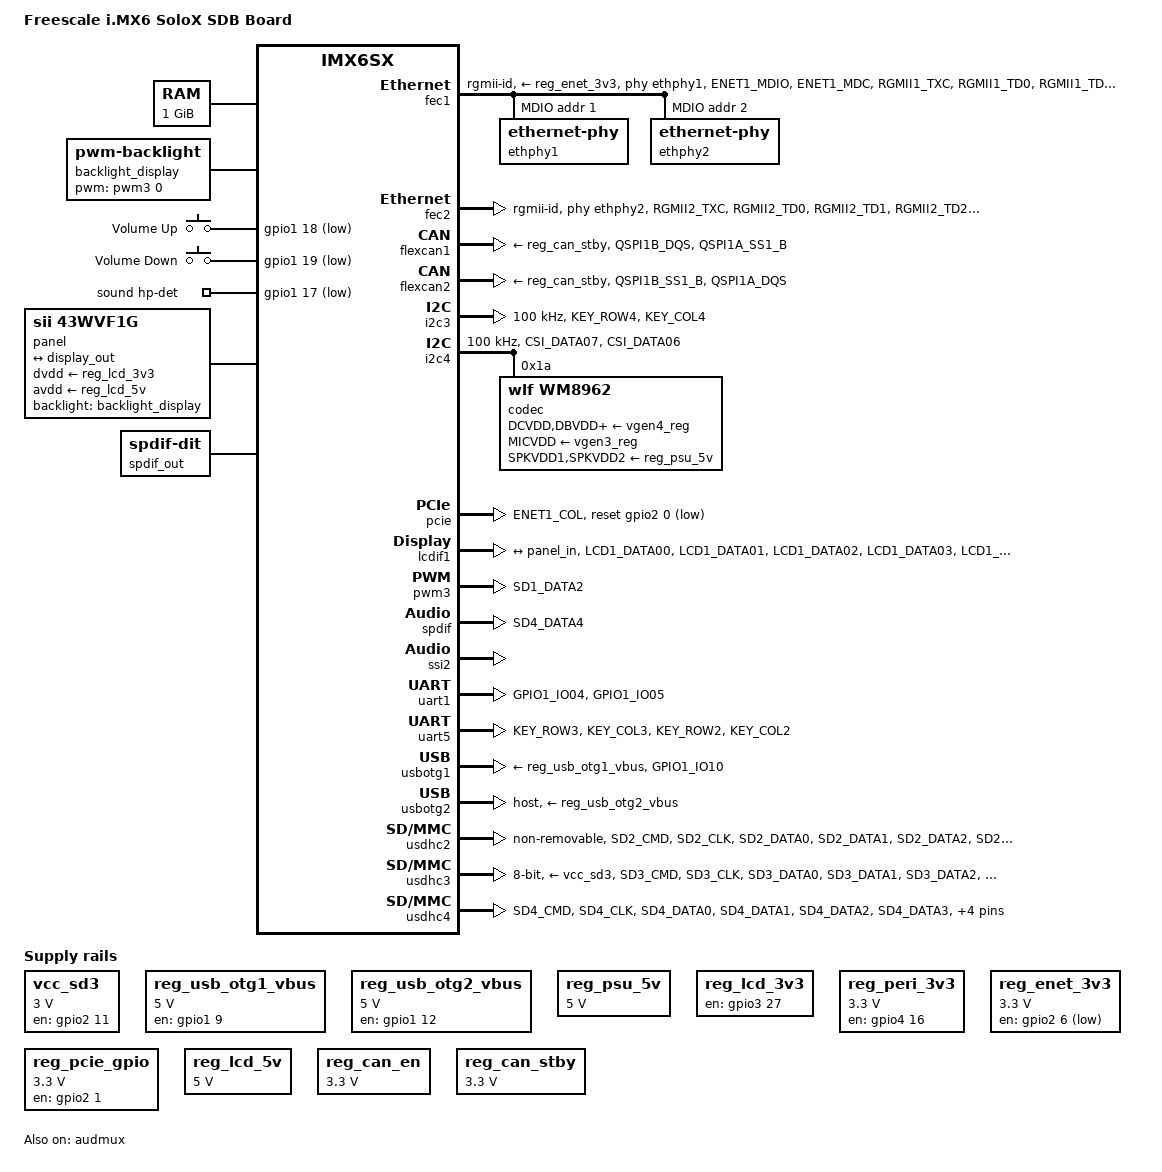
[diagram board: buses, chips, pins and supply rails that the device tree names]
// SPDX-License-Identifier: GPL-2.0
//
// Copyright (C) 2014 Freescale Semiconductor, Inc.

/dts-v1/;

#include <dt-bindings/gpio/gpio.h>
#include <dt-bindings/input/input.h>
#include "imx6sx.dtsi"

/ {
	model = "Freescale i.MX6 SoloX SDB Board";
	compatible = "fsl,imx6sx-sdb", "fsl,imx6sx";

	chosen {
		stdout-path = &uart1;
	};

	memory@80000000 {
		device_type = "memory";
		reg = <0x80000000 0x40000000>;
	};

	backlight_display: backlight-display {
		compatible = "pwm-backlight";
		pwms = <&pwm3 0 5000000 0>;
		brightness-levels = <0 4 8 16 32 64 128 255>;
		default-brightness-level = <6>;
	};

	gpio-keys {
		compatible = "gpio-keys";
		pinctrl-names = "default";
		pinctrl-0 = <&pinctrl_gpio_keys>;

		volume-up {
			label = "Volume Up";
			gpios = <&gpio1 18 GPIO_ACTIVE_LOW>;
			linux,code = <KEY_VOLUMEUP>;
			wakeup-source;
		};

		volume-down {
			label = "Volume Down";
			gpios = <&gpio1 19 GPIO_ACTIVE_LOW>;
			linux,code = <KEY_VOLUMEDOWN>;
			wakeup-source;
		};
	};

	vcc_sd3: regulator-vcc-sd3 {
		compatible = "regulator-fixed";
		pinctrl-names = "default";
		pinctrl-0 = <&pinctrl_vcc_sd3>;
		regulator-name = "VCC_SD3";
		regulator-min-microvolt = <3000000>;
		regulator-max-microvolt = <3000000>;
		gpio = <&gpio2 11 GPIO_ACTIVE_HIGH>;
		enable-active-high;
	};

	reg_usb_otg1_vbus: regulator-usb-otg1-vbus {
		compatible = "regulator-fixed";
		pinctrl-names = "default";
		pinctrl-0 = <&pinctrl_usb_otg1>;
		regulator-name = "usb_otg1_vbus";
		regulator-min-microvolt = <5000000>;
		regulator-max-microvolt = <5000000>;
		gpio = <&gpio1 9 GPIO_ACTIVE_HIGH>;
		enable-active-high;
	};

	reg_usb_otg2_vbus: regulator-usb-otg2-vbus {
		compatible = "regulator-fixed";
		pinctrl-names = "default";
		pinctrl-0 = <&pinctrl_usb_otg2>;
		regulator-name = "usb_otg2_vbus";
		regulator-min-microvolt = <5000000>;
		regulator-max-microvolt = <5000000>;
		gpio = <&gpio1 12 GPIO_ACTIVE_HIGH>;
		enable-active-high;
	};

	reg_psu_5v: regulator-psu-5v {
		compatible = "regulator-fixed";
		regulator-name = "PSU-5V0";
		regulator-min-microvolt = <5000000>;
		regulator-max-microvolt = <5000000>;
	};

	reg_lcd_3v3: regulator-lcd-3v3 {
		compatible = "regulator-fixed";
		regulator-name = "lcd-3v3";
		gpio = <&gpio3 27 0>;
		enable-active-high;
	};

	reg_peri_3v3: regulator-peri-3v3 {
		compatible = "regulator-fixed";
		pinctrl-names = "default";
		pinctrl-0 = <&pinctrl_peri_3v3>;
		regulator-name = "peri_3v3";
		regulator-min-microvolt = <3300000>;
		regulator-max-microvolt = <3300000>;
		gpio = <&gpio4 16 GPIO_ACTIVE_HIGH>;
		enable-active-high;
		regulator-always-on;
	};

	reg_enet_3v3: regulator-enet-3v3 {
		compatible = "regulator-fixed";
		pinctrl-names = "default";
		pinctrl-0 = <&pinctrl_enet_3v3>;
		regulator-name = "enet_3v3";
		regulator-min-microvolt = <3300000>;
		regulator-max-microvolt = <3300000>;
		gpio = <&gpio2 6 GPIO_ACTIVE_LOW>;
		regulator-boot-on;
		regulator-always-on;
	};

	reg_pcie_gpio: regulator-pcie-gpio {
		compatible = "regulator-fixed";
		pinctrl-names = "default";
		pinctrl-0 = <&pinctrl_pcie_reg>;
		regulator-name = "MPCIE_3V3";
		regulator-min-microvolt = <3300000>;
		regulator-max-microvolt = <3300000>;
		gpio = <&gpio2 1 GPIO_ACTIVE_HIGH>;
		enable-active-high;
	};

	reg_lcd_5v: regulator-lcd-5v {
		compatible = "regulator-fixed";
		regulator-name = "lcd-5v0";
		regulator-min-microvolt = <5000000>;
		regulator-max-microvolt = <5000000>;
	};

	reg_can_en: regulator-can-en {
		compatible = "regulator-fixed";
		regulator-name = "can-en";
		regulator-min-microvolt = <3300000>;
		regulator-max-microvolt = <3300000>;
	};

	reg_can_stby: regulator-can-stby {
		compatible = "regulator-fixed";
		regulator-name = "can-stby";
		regulator-min-microvolt = <3300000>;
		regulator-max-microvolt = <3300000>;
	};

	sound {
		compatible = "fsl,imx6sx-sdb-wm8962", "fsl,imx-audio-wm8962";
		pinctrl-names = "default";
		pinctrl-0 = <&pinctrl_hp>;
		model = "wm8962-audio";
		ssi-controller = <&ssi2>;
		audio-codec = <&codec>;
		audio-routing =
			"Headphone Jack", "HPOUTL",
			"Headphone Jack", "HPOUTR",
			"Ext Spk", "SPKOUTL",
			"Ext Spk", "SPKOUTR",
			"AMIC", "MICBIAS",
			"IN3R", "AMIC";
		mux-int-port = <2>;
		mux-ext-port = <6>;
		hp-det-gpio = <&gpio1 17 GPIO_ACTIVE_LOW>;
	};

	panel {
		compatible = "sii,43wvf1g";
		backlight = <&backlight_display>;
		dvdd-supply = <&reg_lcd_3v3>;
		avdd-supply = <&reg_lcd_5v>;

		port {
			panel_in: endpoint {
				remote-endpoint = <&display_out>;
			};
		};
	};

	spdif_out: spdif-out {
		compatible = "linux,spdif-dit";
		#sound-dai-cells = <0>;
	};

	sound-spdif {
		compatible = "fsl,imx6sx-sdb-spdif",
			     "fsl,imx-audio-spdif";
		model = "imx-spdif";
		audio-cpu = <&spdif>;
		audio-codec = <&spdif_out>;
	};

};

&audmux {
	pinctrl-names = "default";
	pinctrl-0 = <&pinctrl_audmux>;
	status = "okay";
};

&fec1 {
	pinctrl-names = "default";
	pinctrl-0 = <&pinctrl_enet1>;
	phy-supply = <&reg_enet_3v3>;
	phy-mode = "rgmii-id";
	phy-handle = <&ethphy1>;
	phy-reset-gpios = <&gpio2 7 GPIO_ACTIVE_LOW>;
	fsl,magic-packet;
	status = "okay";

	mdio {
		#address-cells = <1>;
		#size-cells = <0>;

		ethphy1: ethernet-phy@1 {
			reg = <1>;
		};

		ethphy2: ethernet-phy@2 {
			reg = <2>;
		};
	};
};

&fec2 {
	pinctrl-names = "default";
	pinctrl-0 = <&pinctrl_enet2>;
	phy-mode = "rgmii-id";
	phy-handle = <&ethphy2>;
	fsl,magic-packet;
	status = "okay";
};

&flexcan1 {
	pinctrl-names = "default";
	pinctrl-0 = <&pinctrl_flexcan1>;
	xceiver-supply = <&reg_can_stby>;
	status = "okay";
};

&flexcan2 {
	pinctrl-names = "default";
	pinctrl-0 = <&pinctrl_flexcan2>;
	xceiver-supply = <&reg_can_stby>;
	status = "okay";
};

&i2c3 {
	clock-frequency = <100000>;
	pinctrl-names = "default";
	pinctrl-0 = <&pinctrl_i2c3>;
	status = "okay";
};

&i2c4 {
	clock-frequency = <100000>;
	pinctrl-names = "default";
	pinctrl-0 = <&pinctrl_i2c4>;
	status = "okay";

	codec: wm8962@1a {
		compatible = "wlf,wm8962";
		reg = <0x1a>;
		clocks = <&clks IMX6SX_CLK_AUDIO>;
		DCVDD-supply = <&vgen4_reg>;
		DBVDD-supply = <&vgen4_reg>;
		AVDD-supply = <&vgen4_reg>;
		CPVDD-supply = <&vgen4_reg>;
		MICVDD-supply = <&vgen3_reg>;
		PLLVDD-supply = <&vgen4_reg>;
		SPKVDD1-supply = <&reg_psu_5v>;
		SPKVDD2-supply = <&reg_psu_5v>;
	};
};

&pcie {
	pinctrl-names = "default";
	pinctrl-0 = <&pinctrl_pcie>;
	reset-gpio = <&gpio2 0 GPIO_ACTIVE_LOW>;
	vpcie-supply = <&reg_pcie_gpio>;
	status = "okay";
};

&lcdif1 {
	pinctrl-names = "default";
	pinctrl-0 = <&pinctrl_lcd>;
	status = "okay";

	port {
		display_out: endpoint {
			remote-endpoint = <&panel_in>;
		};
	};
};

&pwm3 {
	pinctrl-names = "default";
	pinctrl-0 = <&pinctrl_pwm3>;
};

&snvs_poweroff {
	status = "okay";
};

&sai1 {
	pinctrl-names = "default";
	pinctrl-0 = <&pinctrl_sai1>;
	status = "disabled";
};

&spdif {
	pinctrl-names = "default";
	pinctrl-0 = <&pinctrl_spdif>;
	assigned-clocks = <&clks IMX6SX_CLK_SPDIF_PODF>;
	assigned-clock-rates = <24576000>;
	status = "okay";
};

&ssi2 {
	status = "okay";
};

&uart1 {
	pinctrl-names = "default";
	pinctrl-0 = <&pinctrl_uart1>;
	status = "okay";
};

&uart5 { /* for bluetooth */
	pinctrl-names = "default";
	pinctrl-0 = <&pinctrl_uart5>;
	uart-has-rtscts;
	status = "okay";
};

&usbotg1 {
	vbus-supply = <&reg_usb_otg1_vbus>;
	pinctrl-names = "default";
	pinctrl-0 = <&pinctrl_usb_otg1_id>;
	status = "okay";
};

&usbotg2 {
	vbus-supply = <&reg_usb_otg2_vbus>;
	dr_mode = "host";
	status = "okay";
};

&usbphy1 {
	fsl,tx-d-cal = <106>;
};

&usbphy2 {
	fsl,tx-d-cal = <106>;
};

&usdhc2 {
	pinctrl-names = "default";
	pinctrl-0 = <&pinctrl_usdhc2>;
	non-removable;
	no-1-8-v;
	keep-power-in-suspend;
	wakeup-source;
	status = "okay";
};

&usdhc3 {
	pinctrl-names = "default", "state_100mhz", "state_200mhz";
	pinctrl-0 = <&pinctrl_usdhc3>;
	pinctrl-1 = <&pinctrl_usdhc3_100mhz>;
	pinctrl-2 = <&pinctrl_usdhc3_200mhz>;
	bus-width = <8>;
	cd-gpios = <&gpio2 10 GPIO_ACTIVE_LOW>;
	wp-gpios = <&gpio2 15 GPIO_ACTIVE_HIGH>;
	keep-power-in-suspend;
	wakeup-source;
	vmmc-supply = <&vcc_sd3>;
	status = "okay";
};

&usdhc4 {
	pinctrl-names = "default";
	pinctrl-0 = <&pinctrl_usdhc4>;
	cd-gpios = <&gpio6 21 GPIO_ACTIVE_LOW>;
	wp-gpios = <&gpio6 20 GPIO_ACTIVE_HIGH>;
	status = "okay";
};

&wdog1 {
	pinctrl-names = "default";
	pinctrl-0 = <&pinctrl_wdog>;
	fsl,ext-reset-output;
};

&iomuxc {
	pinctrl_audmux: audmuxgrp {
		fsl,pins = <
			MX6SX_PAD_CSI_DATA00__AUDMUX_AUD6_TXC	0x130b0
			MX6SX_PAD_CSI_DATA01__AUDMUX_AUD6_TXFS	0x130b0
			MX6SX_PAD_CSI_HSYNC__AUDMUX_AUD6_TXD	0x120b0
			MX6SX_PAD_CSI_VSYNC__AUDMUX_AUD6_RXD	0x130b0
			MX6SX_PAD_CSI_PIXCLK__AUDMUX_MCLK	0x130b0
		>;
	};

	pinctrl_enet1: enet1grp {
		fsl,pins = <
			MX6SX_PAD_ENET1_MDIO__ENET1_MDIO	0xa0b1
			MX6SX_PAD_ENET1_MDC__ENET1_MDC		0xa0b1
			MX6SX_PAD_RGMII1_TXC__ENET1_RGMII_TXC	0xa0b1
			MX6SX_PAD_RGMII1_TD0__ENET1_TX_DATA_0	0xa0b1
			MX6SX_PAD_RGMII1_TD1__ENET1_TX_DATA_1	0xa0b1
			MX6SX_PAD_RGMII1_TD2__ENET1_TX_DATA_2	0xa0b1
			MX6SX_PAD_RGMII1_TD3__ENET1_TX_DATA_3	0xa0b1
			MX6SX_PAD_RGMII1_TX_CTL__ENET1_TX_EN	0xa0b1
			MX6SX_PAD_RGMII1_RXC__ENET1_RX_CLK	0x3081
			MX6SX_PAD_RGMII1_RD0__ENET1_RX_DATA_0	0x3081
			MX6SX_PAD_RGMII1_RD1__ENET1_RX_DATA_1	0x3081
			MX6SX_PAD_RGMII1_RD2__ENET1_RX_DATA_2	0x3081
			MX6SX_PAD_RGMII1_RD3__ENET1_RX_DATA_3	0x3081
			MX6SX_PAD_RGMII1_RX_CTL__ENET1_RX_EN	0x3081
			MX6SX_PAD_ENET2_RX_CLK__ENET2_REF_CLK_25M	0x91
			/* phy reset */
			MX6SX_PAD_ENET2_CRS__GPIO2_IO_7		0x10b0
		>;
	};

	pinctrl_enet_3v3: enet3v3grp {
		fsl,pins = <
			MX6SX_PAD_ENET2_COL__GPIO2_IO_6		0x80000000
		>;
	};

	pinctrl_enet2: enet2grp {
		fsl,pins = <
			MX6SX_PAD_RGMII2_TXC__ENET2_RGMII_TXC	0xa0b9
			MX6SX_PAD_RGMII2_TD0__ENET2_TX_DATA_0	0xa0b1
			MX6SX_PAD_RGMII2_TD1__ENET2_TX_DATA_1	0xa0b1
			MX6SX_PAD_RGMII2_TD2__ENET2_TX_DATA_2	0xa0b1
			MX6SX_PAD_RGMII2_TD3__ENET2_TX_DATA_3	0xa0b1
			MX6SX_PAD_RGMII2_TX_CTL__ENET2_TX_EN	0xa0b1
			MX6SX_PAD_RGMII2_RXC__ENET2_RX_CLK	0x3081
			MX6SX_PAD_RGMII2_RD0__ENET2_RX_DATA_0	0x3081
			MX6SX_PAD_RGMII2_RD1__ENET2_RX_DATA_1	0x3081
			MX6SX_PAD_RGMII2_RD2__ENET2_RX_DATA_2	0x3081
			MX6SX_PAD_RGMII2_RD3__ENET2_RX_DATA_3	0x3081
			MX6SX_PAD_RGMII2_RX_CTL__ENET2_RX_EN	0x3081
		>;
	};

	pinctrl_flexcan1: flexcan1grp {
		fsl,pins = <
			MX6SX_PAD_QSPI1B_DQS__CAN1_TX		0x1b020
			MX6SX_PAD_QSPI1A_SS1_B__CAN1_RX		0x1b020
		>;
	};

	pinctrl_flexcan2: flexcan2grp {
		fsl,pins = <
			MX6SX_PAD_QSPI1B_SS1_B__CAN2_RX		0x1b020
			MX6SX_PAD_QSPI1A_DQS__CAN2_TX		0x1b020
		>;
	};

	pinctrl_gpio_keys: gpio_keysgrp {
		fsl,pins = <
			MX6SX_PAD_CSI_DATA04__GPIO1_IO_18 0x17059
			MX6SX_PAD_CSI_DATA05__GPIO1_IO_19 0x17059
		>;
	};

	pinctrl_hp: hpgrp {
		fsl,pins = <
			MX6SX_PAD_CSI_DATA03__GPIO1_IO_17 0x17059
		>;
	};

	pinctrl_i2c1: i2c1grp {
		fsl,pins = <
			MX6SX_PAD_GPIO1_IO01__I2C1_SDA		0x4001b8b1
			MX6SX_PAD_GPIO1_IO00__I2C1_SCL		0x4001b8b1
		>;
	};

	pinctrl_i2c3: i2c3grp {
		fsl,pins = <
			MX6SX_PAD_KEY_ROW4__I2C3_SDA		0x4001b8b1
			MX6SX_PAD_KEY_COL4__I2C3_SCL		0x4001b8b1
		>;
	};

	pinctrl_i2c4: i2c4grp {
		fsl,pins = <
			MX6SX_PAD_CSI_DATA07__I2C4_SDA		0x4001b8b1
			MX6SX_PAD_CSI_DATA06__I2C4_SCL		0x4001b8b1
		>;
	};

	pinctrl_lcd: lcdgrp {
		fsl,pins = <
			MX6SX_PAD_LCD1_DATA00__LCDIF1_DATA_0 0x4001b0b0
			MX6SX_PAD_LCD1_DATA01__LCDIF1_DATA_1 0x4001b0b0
			MX6SX_PAD_LCD1_DATA02__LCDIF1_DATA_2 0x4001b0b0
			MX6SX_PAD_LCD1_DATA03__LCDIF1_DATA_3 0x4001b0b0
			MX6SX_PAD_LCD1_DATA04__LCDIF1_DATA_4 0x4001b0b0
			MX6SX_PAD_LCD1_DATA05__LCDIF1_DATA_5 0x4001b0b0
			MX6SX_PAD_LCD1_DATA06__LCDIF1_DATA_6 0x4001b0b0
			MX6SX_PAD_LCD1_DATA07__LCDIF1_DATA_7 0x4001b0b0
			MX6SX_PAD_LCD1_DATA08__LCDIF1_DATA_8 0x4001b0b0
			MX6SX_PAD_LCD1_DATA09__LCDIF1_DATA_9 0x4001b0b0
			MX6SX_PAD_LCD1_DATA10__LCDIF1_DATA_10 0x4001b0b0
			MX6SX_PAD_LCD1_DATA11__LCDIF1_DATA_11 0x4001b0b0
			MX6SX_PAD_LCD1_DATA12__LCDIF1_DATA_12 0x4001b0b0
			MX6SX_PAD_LCD1_DATA13__LCDIF1_DATA_13 0x4001b0b0
			MX6SX_PAD_LCD1_DATA14__LCDIF1_DATA_14 0x4001b0b0
			MX6SX_PAD_LCD1_DATA15__LCDIF1_DATA_15 0x4001b0b0
			MX6SX_PAD_LCD1_DATA16__LCDIF1_DATA_16 0x4001b0b0
			MX6SX_PAD_LCD1_DATA17__LCDIF1_DATA_17 0x4001b0b0
			MX6SX_PAD_LCD1_DATA18__LCDIF1_DATA_18 0x4001b0b0
			MX6SX_PAD_LCD1_DATA19__LCDIF1_DATA_19 0x4001b0b0
			MX6SX_PAD_LCD1_DATA20__LCDIF1_DATA_20 0x4001b0b0
			MX6SX_PAD_LCD1_DATA21__LCDIF1_DATA_21 0x4001b0b0
			MX6SX_PAD_LCD1_DATA22__LCDIF1_DATA_22 0x4001b0b0
			MX6SX_PAD_LCD1_DATA23__LCDIF1_DATA_23 0x4001b0b0
			MX6SX_PAD_LCD1_CLK__LCDIF1_CLK	0x4001b0b0
			MX6SX_PAD_LCD1_ENABLE__LCDIF1_ENABLE 0x4001b0b0
			MX6SX_PAD_LCD1_VSYNC__LCDIF1_VSYNC 0x4001b0b0
			MX6SX_PAD_LCD1_HSYNC__LCDIF1_HSYNC 0x4001b0b0
			MX6SX_PAD_LCD1_RESET__GPIO3_IO_27 0x4001b0b0
		>;
	};

	pinctrl_mqs: mqsgrp {
		fsl,pins = <
			MX6SX_PAD_SD2_CLK__MQS_RIGHT 0x120b0
			MX6SX_PAD_SD2_CMD__MQS_LEFT  0x120b0
		>;
	};

	pinctrl_pcie: pciegrp {
		fsl,pins = <
			MX6SX_PAD_ENET1_COL__GPIO2_IO_0 0x10b0
		>;
	};

	pinctrl_pcie_reg: pciereggrp {
		fsl,pins = <
			MX6SX_PAD_ENET1_CRS__GPIO2_IO_1	0x10b0
		>;
	};

	pinctrl_peri_3v3: peri3v3grp {
		fsl,pins = <
			MX6SX_PAD_QSPI1A_DATA0__GPIO4_IO_16	0x80000000
		>;
	};

	pinctrl_pwm3: pwm3-1grp {
		fsl,pins = <
			MX6SX_PAD_SD1_DATA2__PWM3_OUT 0x110b0
		>;
	};

	pinctrl_qspi2: qspi2grp {
		fsl,pins = <
			MX6SX_PAD_NAND_WP_B__QSPI2_A_DATA_0     0x70f1
			MX6SX_PAD_NAND_READY_B__QSPI2_A_DATA_1  0x70f1
			MX6SX_PAD_NAND_CE0_B__QSPI2_A_DATA_2    0x70f1
			MX6SX_PAD_NAND_CE1_B__QSPI2_A_DATA_3    0x70f1
			MX6SX_PAD_NAND_CLE__QSPI2_A_SCLK        0x70f1
			MX6SX_PAD_NAND_ALE__QSPI2_A_SS0_B       0x70f1
			MX6SX_PAD_NAND_DATA01__QSPI2_B_DATA_0   0x70f1
			MX6SX_PAD_NAND_DATA00__QSPI2_B_DATA_1   0x70f1
			MX6SX_PAD_NAND_WE_B__QSPI2_B_DATA_2     0x70f1
			MX6SX_PAD_NAND_RE_B__QSPI2_B_DATA_3     0x70f1
			MX6SX_PAD_NAND_DATA02__QSPI2_B_SCLK     0x70f1
			MX6SX_PAD_NAND_DATA03__QSPI2_B_SS0_B    0x70f1
		>;
	};

	pinctrl_vcc_sd3: vccsd3grp {
		fsl,pins = <
			MX6SX_PAD_KEY_COL1__GPIO2_IO_11		0x17059
		>;
	};

	pinctrl_sai1: sai1grp {
		fsl,pins = <
			MX6SX_PAD_CSI_DATA00__SAI1_TX_BCLK	0x130b0
			MX6SX_PAD_CSI_DATA01__SAI1_TX_SYNC	0x130b0
			MX6SX_PAD_CSI_HSYNC__SAI1_TX_DATA_0	0x120b0
			MX6SX_PAD_CSI_VSYNC__SAI1_RX_DATA_0	0x130b0
			MX6SX_PAD_CSI_PIXCLK__AUDMUX_MCLK	0x130b0
		>;
	};

	pinctrl_spdif: spdifgrp {
		fsl,pins = <
			MX6SX_PAD_SD4_DATA4__SPDIF_OUT          0x1b0b0
		>;
	};

	pinctrl_uart1: uart1grp {
		fsl,pins = <
			MX6SX_PAD_GPIO1_IO04__UART1_DCE_TX	0x1b0b1
			MX6SX_PAD_GPIO1_IO05__UART1_DCE_RX	0x1b0b1
		>;
	};

	pinctrl_uart5: uart5grp {
		fsl,pins = <
			MX6SX_PAD_KEY_ROW3__UART5_DCE_RX	0x1b0b1
			MX6SX_PAD_KEY_COL3__UART5_DCE_TX	0x1b0b1
			MX6SX_PAD_KEY_ROW2__UART5_DCE_CTS	0x1b0b1
			MX6SX_PAD_KEY_COL2__UART5_DCE_RTS	0x1b0b1
		>;
	};

	pinctrl_usb_otg1: usbotg1grp {
		fsl,pins = <
			MX6SX_PAD_GPIO1_IO09__GPIO1_IO_9	0x10b0
		>;
	};

	pinctrl_usb_otg1_id: usbotg1idgrp {
		fsl,pins = <
			MX6SX_PAD_GPIO1_IO10__ANATOP_OTG1_ID	0x17059
		>;
	};

	pinctrl_usb_otg2: usbot2ggrp {
		fsl,pins = <
			MX6SX_PAD_GPIO1_IO12__GPIO1_IO_12	0x10b0
		>;
	};

	pinctrl_usdhc2: usdhc2grp {
		fsl,pins = <
			MX6SX_PAD_SD2_CMD__USDHC2_CMD		0x17059
			MX6SX_PAD_SD2_CLK__USDHC2_CLK		0x10059
			MX6SX_PAD_SD2_DATA0__USDHC2_DATA0	0x17059
			MX6SX_PAD_SD2_DATA1__USDHC2_DATA1	0x17059
			MX6SX_PAD_SD2_DATA2__USDHC2_DATA2	0x17059
			MX6SX_PAD_SD2_DATA3__USDHC2_DATA3	0x17059
		>;
	};

	pinctrl_usdhc3: usdhc3grp {
		fsl,pins = <
			MX6SX_PAD_SD3_CMD__USDHC3_CMD		0x17059
			MX6SX_PAD_SD3_CLK__USDHC3_CLK		0x10059
			MX6SX_PAD_SD3_DATA0__USDHC3_DATA0	0x17059
			MX6SX_PAD_SD3_DATA1__USDHC3_DATA1	0x17059
			MX6SX_PAD_SD3_DATA2__USDHC3_DATA2	0x17059
			MX6SX_PAD_SD3_DATA3__USDHC3_DATA3	0x17059
			MX6SX_PAD_SD3_DATA4__USDHC3_DATA4	0x17059
			MX6SX_PAD_SD3_DATA5__USDHC3_DATA5	0x17059
			MX6SX_PAD_SD3_DATA6__USDHC3_DATA6	0x17059
			MX6SX_PAD_SD3_DATA7__USDHC3_DATA7	0x17059
			MX6SX_PAD_KEY_COL0__GPIO2_IO_10		0x17059 /* CD */
			MX6SX_PAD_KEY_ROW0__GPIO2_IO_15		0x17059 /* WP */
		>;
	};

	pinctrl_usdhc3_100mhz: usdhc3-100mhzgrp {
		fsl,pins = <
			MX6SX_PAD_SD3_CMD__USDHC3_CMD		0x170b9
			MX6SX_PAD_SD3_CLK__USDHC3_CLK		0x100b9
			MX6SX_PAD_SD3_DATA0__USDHC3_DATA0	0x170b9
			MX6SX_PAD_SD3_DATA1__USDHC3_DATA1	0x170b9
			MX6SX_PAD_SD3_DATA2__USDHC3_DATA2	0x170b9
			MX6SX_PAD_SD3_DATA3__USDHC3_DATA3	0x170b9
			MX6SX_PAD_SD3_DATA4__USDHC3_DATA4	0x170b9
			MX6SX_PAD_SD3_DATA5__USDHC3_DATA5	0x170b9
			MX6SX_PAD_SD3_DATA6__USDHC3_DATA6	0x170b9
			MX6SX_PAD_SD3_DATA7__USDHC3_DATA7	0x170b9
		>;
	};

	pinctrl_usdhc3_200mhz: usdhc3-200mhzgrp {
		fsl,pins = <
			MX6SX_PAD_SD3_CMD__USDHC3_CMD		0x170f9
			MX6SX_PAD_SD3_CLK__USDHC3_CLK		0x100f9
			MX6SX_PAD_SD3_DATA0__USDHC3_DATA0	0x170f9
			MX6SX_PAD_SD3_DATA1__USDHC3_DATA1	0x170f9
			MX6SX_PAD_SD3_DATA2__USDHC3_DATA2	0x170f9
			MX6SX_PAD_SD3_DATA3__USDHC3_DATA3	0x170f9
			MX6SX_PAD_SD3_DATA4__USDHC3_DATA4	0x170f9
			MX6SX_PAD_SD3_DATA5__USDHC3_DATA5	0x170f9
			MX6SX_PAD_SD3_DATA6__USDHC3_DATA6	0x170f9
			MX6SX_PAD_SD3_DATA7__USDHC3_DATA7	0x170f9
		>;
	};

	pinctrl_usdhc4: usdhc4grp {
		fsl,pins = <
			MX6SX_PAD_SD4_CMD__USDHC4_CMD		0x17059
			MX6SX_PAD_SD4_CLK__USDHC4_CLK		0x10059
			MX6SX_PAD_SD4_DATA0__USDHC4_DATA0	0x17059
			MX6SX_PAD_SD4_DATA1__USDHC4_DATA1	0x17059
			MX6SX_PAD_SD4_DATA2__USDHC4_DATA2	0x17059
			MX6SX_PAD_SD4_DATA3__USDHC4_DATA3	0x17059
			MX6SX_PAD_SD4_DATA7__GPIO6_IO_21	0x17059 /* CD */
			MX6SX_PAD_SD4_DATA6__GPIO6_IO_20	0x17059 /* WP */
		>;
	};

	pinctrl_wdog: wdoggrp {
		fsl,pins = <
			MX6SX_PAD_GPIO1_IO13__WDOG1_WDOG_ANY 0x30b0
		>;
	};
};
